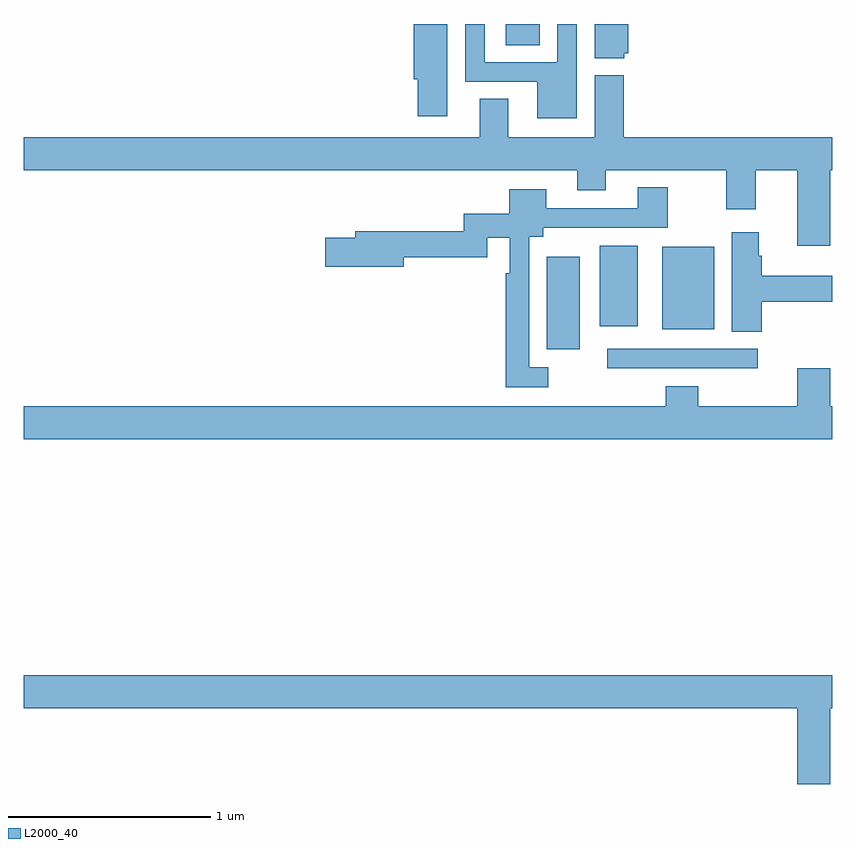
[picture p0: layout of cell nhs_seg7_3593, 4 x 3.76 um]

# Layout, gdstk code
import gdstk
lib = gdstk.Library(unit=1e-6, precision=1e-09)
def R(c, l, rs):  # rectangles x0, y0, x1, y1
    for r in rs: c.add(gdstk.rectangle(r[:2], r[2:], *l))
def P(c, l, *ps):  # polygons
    for p in ps: c.add(gdstk.Polygon(p, *l))
L2000_40 = (2000, 40)

nhs_seg7_3593 = lib.new_cell('nhs_seg7_3593')
R(nhs_seg7_3593, L2000_40, [(343.887,1006.296,344.632,1006.392), (343.589,1006.391,343.75,1006.849), (344.159,1006.49,344.416,1006.897), (343.85,1006.505,344.038,1006.903), (343.385,1007.896,343.552,1008)])
P(nhs_seg7_3593, L2000_40, [(343.971,1007.856),(343.99,1007.856),(343.99,1008),(343.826,1008),(343.826,1007.831),(343.971,1007.831)],
  [(343.737,1008),(343.641,1008),(343.641,1007.811),(343.281,1007.811),(343.281,1008),(343.185,1008),(343.185,1007.715),(343.541,1007.715),(343.541,1007.534),(343.737,1007.534)],
  [(343.096,1008),(342.929,1008),(342.929,1007.727),(342.95,1007.727),(342.95,1007.544),(343.096,1007.544)],
  [(344.992,1007.276),(345,1007.276),(345,1007.44),(343.97,1007.44),(343.97,1007.746),(343.826,1007.746),(343.826,1007.44),(343.396,1007.44),(343.396,1007.63),(343.256,1007.63),(343.256,1007.44),(341,1007.44),(341,1007.276),(343.739,1007.276),(343.739,1007.177),(343.879,1007.177),(343.879,1007.276),(344.476,1007.276),(344.476,1007.082),(344.623,1007.082),(344.623,1007.276),(344.828,1007.276),(344.828,1006.902),(344.992,1006.902)],
  [(343.594,1006.3),(343.5,1006.3),(343.5,1006.946),(343.57,1006.946),(343.57,1006.992),(344.187,1006.992),(344.187,1007.191),(344.039,1007.191),(344.039,1007.088),(343.585,1007.088),(343.585,1007.182),(343.403,1007.182),(343.403,1007.06),(343.177,1007.06),(343.177,1006.975),(342.641,1006.975),(342.641,1006.941),(342.492,1006.941),(342.492,1006.799),(342.88,1006.799),(342.88,1006.846),(343.293,1006.846),(343.293,1006.942),(343.404,1006.942),(343.404,1006.765),(343.384,1006.765),(343.384,1006.203),(343.594,1006.203)],
  [(344.651,1006.624),(345,1006.624),(345,1006.753),(344.651,1006.753),(344.651,1006.853),(344.638,1006.853),(344.638,1006.969),(344.504,1006.969),(344.504,1006.477),(344.651,1006.477)],
  [(345,1006.108),(344.992,1006.108),(344.992,1006.297),(344.828,1006.297),(344.828,1006.108),(344.337,1006.108),(344.337,1006.207),(344.177,1006.207),(344.177,1006.108),(341,1006.108),(341,1005.944),(345,1005.944)],
  [(344.992,1004.612),(345,1004.612),(345,1004.776),(341,1004.776),(341,1004.612),(344.828,1004.612),(344.828,1004.238),(344.992,1004.238)])

lib.write_gds('nhs_seg7_3593.gds')
